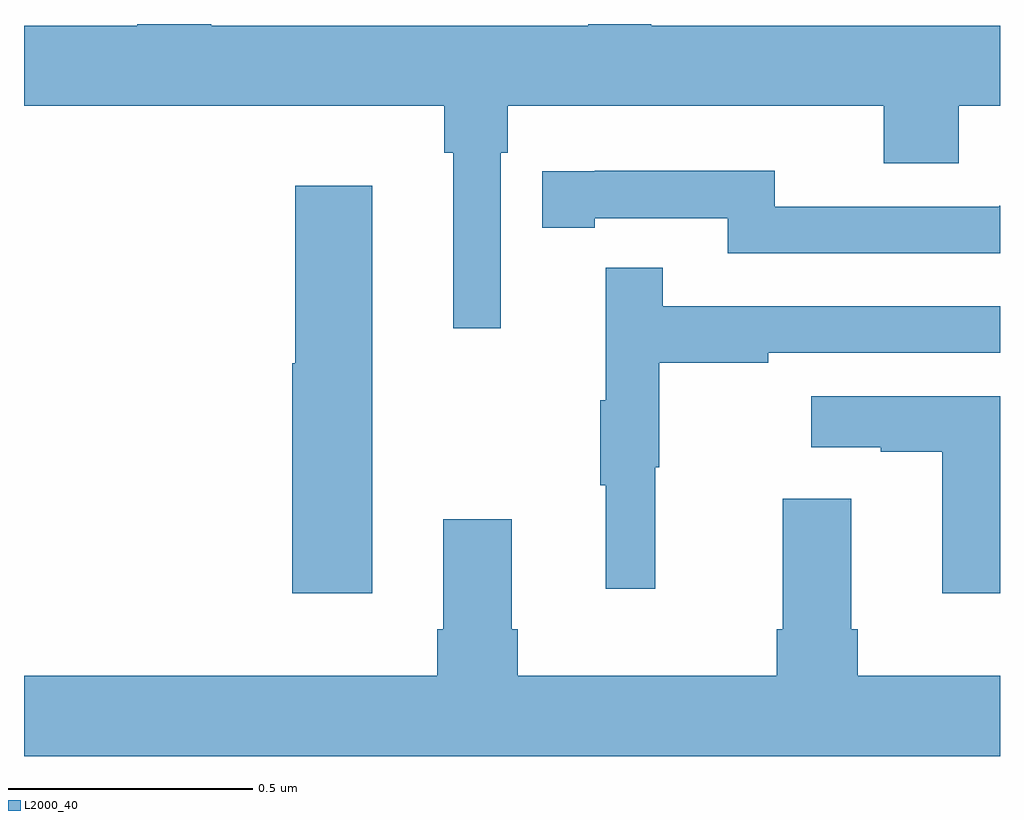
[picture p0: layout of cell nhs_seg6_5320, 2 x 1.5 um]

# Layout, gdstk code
import gdstk
lib = gdstk.Library(unit=1e-6, precision=1e-09)
def P(c, l, *ps):  # polygons
    for p in ps: c.add(gdstk.Polygon(p, *l))
L2000_40 = (2000, 40)

nhs_seg6_5320 = lib.new_cell('nhs_seg6_5320')
P(nhs_seg6_5320, L2000_40, [(181.977,951.236),(181.991,951.236),(181.991,951.332),(182.762,951.332),(182.762,951.215),(182.915,951.215),(182.915,951.332),(183,951.332),(183,951.496),(182.285,951.496),(182.285,951.5),(182.156,951.5),(182.156,951.496),(181.384,951.496),(181.384,951.5),(181.232,951.5),(181.232,951.496),(181,951.496),(181,951.332),(181.861,951.332),(181.861,951.236),(181.88,951.236),(181.88,950.877),(181.977,950.877)],
  [(183,951.128),(182.998,951.128),(182.998,951.126),(182.538,951.126),(182.538,951.199),(182.17,951.199),(182.17,951.198),(182.062,951.198),(182.062,951.082),(182.17,951.082),(182.17,951.102),(182.442,951.102),(182.442,951.03),(183,951.03)],
  [(181.714,951.169),(181.556,951.169),(181.556,950.805),(181.55,950.805),(181.55,950.334),(181.714,950.334)],
  [(182.294,950.592),(182.302,950.592),(182.302,950.806),(182.525,950.806),(182.525,950.826),(183,950.826),(183,950.922),(182.309,950.922),(182.309,951.001),(182.192,951.001),(182.192,950.729),(182.181,950.729),(182.181,950.555),(182.192,950.555),(182.192,950.343),(182.294,950.343)],
  [(183,950.737),(182.613,950.737),(182.613,950.633),(182.756,950.633),(182.756,950.623),(182.882,950.623),(182.882,950.334),(183,950.334)],
  [(183,950.164),(182.708,950.164),(182.708,950.26),(182.695,950.26),(182.695,950.527),(182.555,950.527),(182.555,950.26),(182.543,950.26),(182.543,950.164),(182.012,950.164),(182.012,950.26),(181.999,950.26),(181.999,950.485),(181.859,950.485),(181.859,950.26),(181.847,950.26),(181.847,950.164),(181,950.164),(181,950),(183,950)])

lib.write_gds('nhs_seg6_5320.gds')
